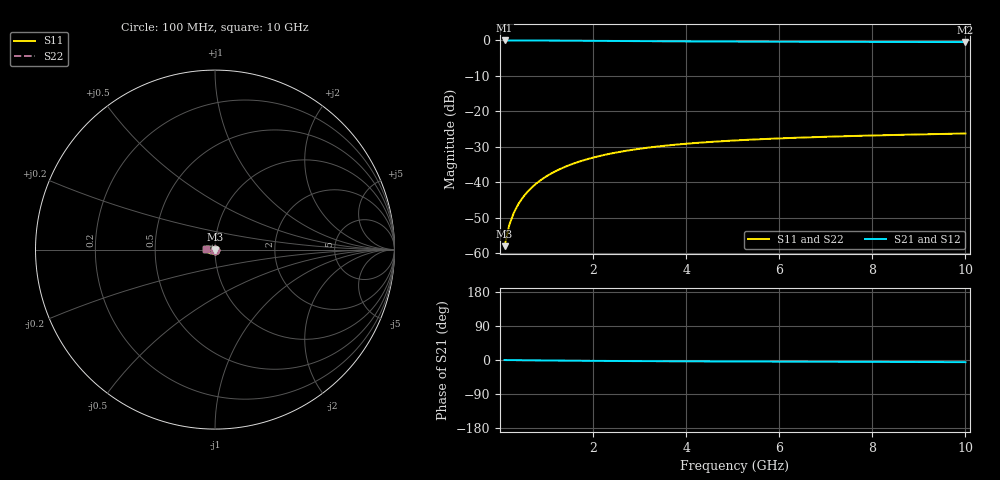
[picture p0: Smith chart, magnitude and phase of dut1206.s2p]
! Touchstone file exported from HFSS 2024.1.0
!  File:  C:/UserFiles/LocalFiles/RDL_TSV_Batchsim/temp_TSV1_1206_1780247876.aedt
!  Generated:  01:23:16 AM Jun  1, 2026
!  Design:  TSV1
!  Project:  temp_TSV1_1206_1780247876
!  Setup:  Setup1
!  Solution:  Sweep
! Variables:
!  dtsv = 9.34um
!  hbump = 3um
!  htsv = 89.23um
!  lrdl = 252.1521522um
!  p = 40
!  p1 = 48.45um
!  t = 500um
!  trdl = 3um
!  wrdl = 24.89489489um
# GHz S MA R 50.000000
! Terminal data exported
! Port[1] = TSV22_T1
! Port[2] = TSV22_T2
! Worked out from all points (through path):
!   100 points, 100 MHz to 10 GHz, reference 50 ohm
!   highest |S21| = 0.00 dB at 100 MHz (marker M1); lowest = -0.5 dB at 10 GHz (marker M2)
!   lowest |S11| = -58.0 dB at 100 MHz (marker M3), VSWR 1.00, Z = 50 - j0.126 ohm
!   |S11| at or under -10 dB: start of sweep to end of sweep
!   |S22| runs from -58.0 to -26.2 dB; largest |S21 - S12| = 7e-15
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0.1  0.001263 -83.6  0.9998 -0.1  0.9998 -0.1  0.001263 -83.6
! Gamma 0 0 0 0
! Port Impedance 50 0 50 0
0.2  0.00251 -89.3  0.9996 -0.3  0.9996 -0.3  0.00251 -89.3
0.3  0.00376 -92.3  0.9994 -0.4  0.9994 -0.4  0.00376 -92.3
0.4  0.005007 -94.8  0.9991 -0.5  0.9991 -0.5  0.005007 -94.8
0.5  0.006245 -96.9  0.9988 -0.7  0.9988 -0.7  0.006245 -96.9
0.6  0.007472 -99.0  0.9984 -0.8  0.9984 -0.8  0.007472 -99.0
0.7  0.008683 -100.9  0.9979 -0.9  0.9979 -0.9  0.008683 -100.9
0.8  0.009878 -102.8  0.9973 -1.0  0.9973 -1.0  0.009878 -102.8
0.9  0.01105 -104.6  0.9967 -1.1  0.9967 -1.1  0.01105 -104.6
1.1  0.01334 -108.2  0.9954 -1.4  0.9954 -1.4  0.01334 -108.2
1.4  0.01658 -113.2  0.993 -1.7  0.993 -1.7  0.01658 -113.2
1.6  0.01861 -116.4  0.9913 -1.9  0.9913 -1.9  0.01861 -116.4
1.8  0.02053 -119.5  0.9894 -2.1  0.9894 -2.1  0.02053 -119.5
2.1  0.0232 -123.9  0.9866 -2.3  0.9866 -2.3  0.0232 -123.9
2.5  0.02637 -129.4  0.9829 -2.6  0.9829 -2.6  0.02637 -129.4
2.9  0.02914 -134.4  0.9792 -2.9  0.9792 -2.9  0.02914 -134.4
3.4  0.0321 -140.1  0.975 -3.2  0.975 -3.2  0.0321 -140.1
4.2  0.03589 -148.0  0.9691 -3.6  0.9691 -3.6  0.03589 -148.0
5.1  0.03914 -155.6  0.9638 -3.9  0.9638 -3.9  0.03914 -155.6
6.7  0.04329 -166.5  0.9569 -4.5  0.9569 -4.5  0.04329 -166.5
8.4  0.04646 -175.9  0.952 -5.1  0.952 -5.1  0.04646 -175.9
10  0.04887 176.8  0.9489 -5.7  0.9489 -5.7  0.04887 176.8
